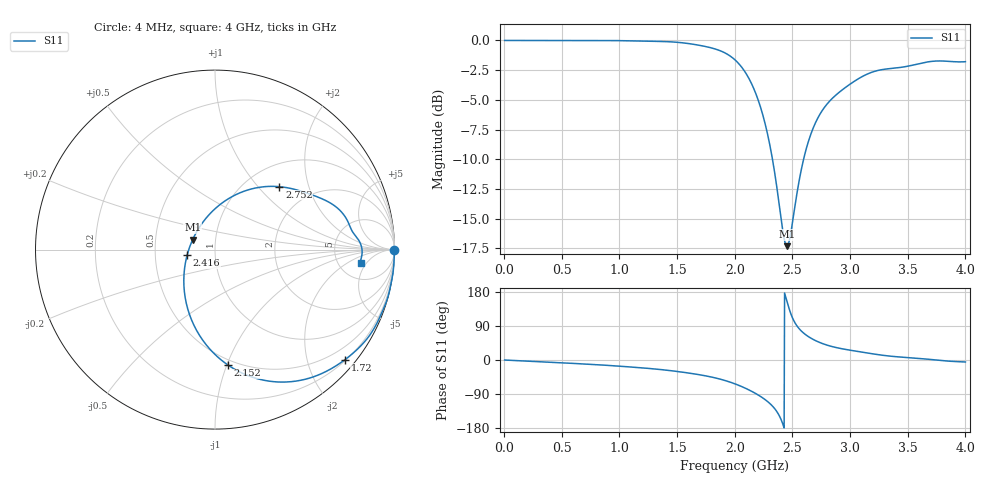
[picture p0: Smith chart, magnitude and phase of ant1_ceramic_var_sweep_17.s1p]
! TOUCHSTONE file generated by CST MICROWAVE STUDIO
! Date and time: Fri May  6 09:22:54 2022
! Project name: ant1_ceramic_sweep_10porcent.cst
! Parameters = {e=0.035; h=1.6; i=0.8; l1=0.5; l2=17; ls=88; wl=1.7; ws=30}
! Header version: 2018
! Port assignment regex: !\s*Touchstone port\s*([0-9]+)\s*=\s*(CST MWS port|CST DS port)\s*([0-9]+|Zmin|Zmax)\s*\(\"(.*)\"\)(\s*mode\s*([0-9]+))?.*
! Touchstone port assignment:
! Touchstone port 1 = CST MWS port 1 ("")
# GHz S DB R 50
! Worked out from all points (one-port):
!   1000 points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, 4 MHz to 4 GHz, reference 50 ohm
!   lowest |S11| = -17.3 dB at 2.452 GHz (marker M1), VSWR 1.32, Z = 38.7 + j4.44 ohm
!   |S11| at or under -10 dB: 2.327 GHz to 2.597 GHz (269.7 MHz wide, 11 % of centre)
!   S11 on the Smith chart (normalised r, x): 4 MHz: open; 1.72 GHz: 0.22, -2.71; 2.152 GHz: 0.46, -1.01; 2.416 GHz: 0.73, -0.05; 2.752 GHz: 1.40, +1.31; 4 GHz: 8.16, -3.58
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0.004  -0.00 -0.1
0.504  -0.00 -7.4
1.004  -0.02 -16.4
1.312  -0.08 -23.8
1.504  -0.16 -30.4
1.72  -0.46 -40.3
1.872  -0.86 -50.4
2.004  -1.65 -63.2
2.08  -2.51 -72.8
2.152  -3.77 -83.5
2.228  -5.76 -97.1
2.292  -8.22 -111.5
2.352  -11.50 -130.6
2.416  -15.98 -168.4
2.436  -17.01 172.7
2.452  -17.31 155.7
2.476  -16.71 131.1
2.504  -15.09 108.8
2.56  -11.71 82.0
2.616  -9.26 66.4
2.68  -7.37 54.3
2.752  -5.99 44.3
2.856  -4.78 34.5
3.004  -3.65 25.7
3.228  -2.56 14.8
3.504  -2.16 6.4
3.728  -1.74 0.4
4  -1.79 -5.2
